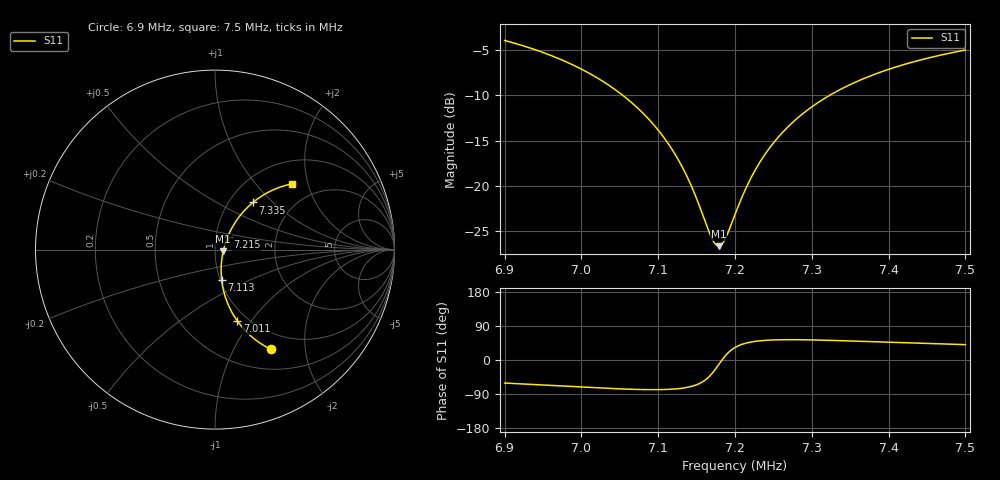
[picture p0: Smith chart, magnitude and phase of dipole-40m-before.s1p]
! 40 m dipole, 20.00 m total, before trimming
! Synthetic sweep generated for NereusSDR — not a real measurement.
! See docs/antenna/README.md for the values this must produce.
# MHZ S RI R 50
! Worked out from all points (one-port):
!   201 points, 6.9 MHz to 7.5 MHz, reference 50 ohm
!   lowest |S11| = -26.7 dB at 7.179 MHz (marker M1), VSWR 1.10, Z = 54.8 - j1 ohm
!   |S11| at or under -10 dB: 7.054 MHz to 7.323 MHz (269.4 kHz wide, 3.75 % of centre)
!   S11 on the Smith chart (normalised r, x): 6.9 MHz: 0.76, -1.41; 7.011 MHz: 0.89, -0.86; 7.113 MHz: 1.02, -0.35; 7.215 MHz: 1.14, +0.16; 7.335 MHz: 1.28, +0.76; 7.5 MHz: 1.48, +1.58
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6.9  0.3098 -0.5548
6.939  0.2398 -0.5132
6.975  0.1786 -0.4616
7.011  0.1244 -0.3977
7.05  0.0776 -0.3161
7.083  0.0505 -0.2398
7.098  0.0423 -0.2037
7.113  0.037 -0.1672
7.125  0.0347 -0.1379
7.134  0.0341 -0.1159
7.143  0.0345 -0.0941
7.17  0.0414 -0.0299
7.176  0.0441 -0.016
7.179  0.0455 -0.00911
7.182  0.0471 -0.00227
7.188  0.0505 0.0113
7.2  0.0583 0.0377
7.215  0.0699 0.0696
7.227  0.0806 0.094
7.242  0.0954 0.1229
7.257  0.1116 0.1502
7.275  0.1327 0.1805
7.302  0.1669 0.221
7.335  0.2112 0.2627
7.35  0.2318 0.2788
7.386  0.2814 0.3112
7.425  0.334 0.3371
7.5  0.4275 0.3659
